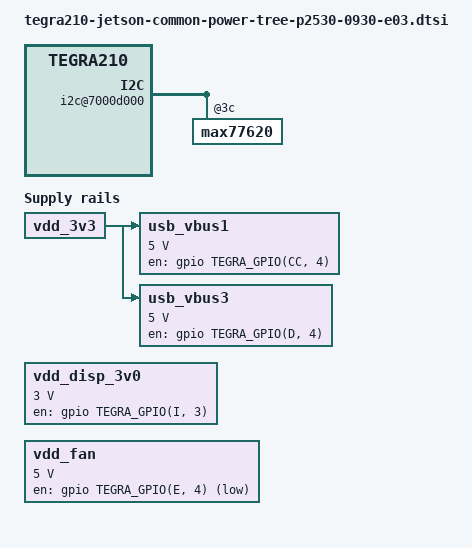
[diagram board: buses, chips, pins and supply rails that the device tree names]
/*
 * Copyright (c) 2014-2016, NVIDIA CORPORATION.  All rights reserved.
 *
 * This program is free software; you can redistribute it and/or modify
 * it under the terms of the GNU General Public License as published by
 * the Free Software Foundation; either version 2 of the License, or
 * (at your option) any later version.
 *
 * This program is distributed in the hope that it will be useful, but WITHOUT
 * ANY WARRANTY; without even the implied warranty of MERCHANTABILITY or
 * FITNESS FOR A PARTICULAR PURPOSE.  See the GNU General Public License for
 * more details.
 *
 * You should have received a copy of the GNU General Public License along
 * along with this program. If not, see <http://www.gnu.org/licenses/>.
 */

#include "tegra210-jetson-e-pmic-p2530-0930-e03.dtsi"
#include "tegra210-jetson-e-power-fixed-p2530-0930-e03.dtsi"
#include "tegra210-ers-power-dvfs-e2174-1101-a00.dtsi"

/ {
	dvfs_rails {
		vdd-cpu-rail-max77621@2 {
			/delete-property/ vdd_cpu-supply;
		};
		vdd-gpu-rail-max77621@3 {
			/delete-property/ vdd_gpu-supply;
		};
	};

	i2c@7000d000 {
		max77620@3c {
			regulators {
				sd0 {
					regulator-enable-ramp-delay = <146>;
					regulator-disable-ramp-delay = <4080>;
					regulator-ramp-delay = <27500>;
					regulator-ramp-delay-scale = <300>;
				};

				sd1 {
					regulator-enable-ramp-delay = <130>;
					regulator-disable-ramp-delay = <145800>;
					regulator-ramp-delay = <27500>;
					regulator-ramp-delay-scale = <300>;
				};

				sd2 {
					maxim,active-fps-source = <MAX77620_FPS_SRC_1>;
					maxim,suspend-fps-source = <MAX77620_FPS_SRC_NONE>;
					regulator-enable-ramp-delay = <176>;
					regulator-disable-ramp-delay = <32000>;
					regulator-ramp-delay = <27500>;
					regulator-ramp-delay-scale = <350>;
				};

				sd3 {
					regulator-enable-ramp-delay = <242>;
					regulator-disable-ramp-delay = <118000>;
					regulator-ramp-delay = <27500>;
					regulator-ramp-delay-scale = <360>;
				};

				ldo0 {
					regulator-enable-ramp-delay = <26>;
					regulator-disable-ramp-delay = <626>;
					regulator-ramp-delay = <100000>;
					regulator-ramp-delay-scale = <200>;
				};

				ldo1 {
					regulator-enable-ramp-delay = <22>;
					regulator-disable-ramp-delay = <630>;
					regulator-ramp-delay = <100000>;
					regulator-ramp-delay-scale = <200>;
				};

				ldo2 {
					regulator-enable-ramp-delay = <62>;
					regulator-disable-ramp-delay = <650>;
					regulator-ramp-delay = <100000>;
					regulator-ramp-delay-scale = <200>;
				};

				ldo3 {
					regulator-enable-ramp-delay = <50>;
					regulator-disable-ramp-delay = <1110>;
					regulator-ramp-delay = <100000>;
					regulator-ramp-delay-scale = <200>;
				};

				ldo4 {
					regulator-enable-ramp-delay = <22>;
					regulator-disable-ramp-delay = <610>;
					regulator-ramp-delay = <100000>;
					regulator-ramp-delay-scale = <200>;
				};

				ldo5 {
					regulator-enable-ramp-delay = <62>;
					regulator-disable-ramp-delay = <640>;
					regulator-ramp-delay = <100000>;
					regulator-ramp-delay-scale = <200>;
				};

				ldo6 {
					regulator-enable-ramp-delay = <36>;
					regulator-disable-ramp-delay = <674>;
					regulator-ramp-delay = <100000>;
					regulator-ramp-delay-scale = <200>;
				};

				ldo7 {
					maxim,active-fps-source = <MAX77620_FPS_SRC_1>;
					maxim,suspend-fps-source = <MAX77620_FPS_SRC_NONE>;
					regulator-enable-ramp-delay = <24>;
					regulator-disable-ramp-delay = <2768>;
					regulator-ramp-delay = <100000>;
					regulator-ramp-delay-scale = <200>;
				};

				ldo8 {
					regulator-enable-ramp-delay = <22>;
					regulator-disable-ramp-delay = <1160>;
					regulator-ramp-delay = <100000>;
					regulator-ramp-delay-scale = <200>;
				};
			};
		};
	};

	regulators {
		regulator@1 {
			regulator-enable-ramp-delay = <160>;
			regulator-disable-ramp-delay = <10000>;
		};

		regulator@2 {
			regulator-enable-ramp-delay = <240>;
			regulator-disable-ramp-delay = <11340>;
		};

		regulator@4 {
			regulator-enable-ramp-delay = <472>;
			regulator-disable-ramp-delay = <4880>;
		};

		regulator@6 {
			regulator-enable-ramp-delay = <3090>;
		};

		regulator@7 {
			regulator-enable-ramp-delay = <468>;
			regulator-disable-ramp-delay = <13000>;
		};

		vdd_disp_3v0: regulator@12 {
			compatible = "regulator-fixed-sync";
			reg = <12>;
			regulator-name = "vdd-disp-3v0";
			regulator-min-microvolt = <3000000>;
			regulator-max-microvolt = <3000000>;
			gpio = <&gpio TEGRA_GPIO(I, 3) 0>;
			regulator-boot-on;
			enable-active-high;
			regulator-enable-ramp-delay = <232>;
		};

		vdd_fan: regulator@13 {
			compatible = "regulator-fixed-sync";
			reg = <13>;
			regulator-name = "vdd-fan";
			regulator-min-microvolt = <5000000>;
			regulator-max-microvolt = <5000000>;
			gpio = <&gpio TEGRA_GPIO(E, 4) 0>;
			regulator-enable-ramp-delay = <284>;
			regulator-disable-ramp-delay = <6200>;
		};

		usb_vbus1: regulator@14 {
			compatible = "regulator-fixed-sync";
			reg = <14>;
			regulator-name = "usb-vbus1";
			regulator-min-microvolt = <5000000>;
			regulator-max-microvolt = <5000000>;
			gpio = <&gpio TEGRA_GPIO(CC, 4) 0>;
			enable-active-high;
			gpio-open-drain;
			vin-supply = <&vdd_3v3>;
		};

		usb_vbus3: regulator@15 {
			compatible = "regulator-fixed-sync";
			reg = <15>;
			regulator-name = "usb-vbus3";
			regulator-min-microvolt = <5000000>;
			regulator-max-microvolt = <5000000>;
			gpio = <&gpio TEGRA_GPIO(D, 4) 0>;
			enable-active-high;
			gpio-open-drain;
			vin-supply = <&vdd_3v3>;
		};
	};

	efuse@7000f800 {
		vpp_fuse-supply = <&max77620_sd3>;
	};

	host1x {
		/* tegradc.0 */
		dc@54200000 {
			avdd_dsi_csi-supply = <&max77620_gpio7>;
			avdd_lcd-supply = <&vdd_disp_3v0>;
			dvdd_lcd-supply = <&max77620_sd3>;
			vdd_lcd_bl_en-supply = <&lcd_bl_en>;
			vdd_lcd_bl-supply = <&vdd_3v3>;
		};

		/* tegradc.1 */
		dc@54240000 {
			avdd_hdmi-supply = <&max77620_ldo8>;    /* 1V05 */
			avdd_hdmi_pll-supply = <&max77620_sd3>; /* 1V8 */
			vdd_hdmi_5v0-supply = <&vdd_hdmi>;	/* 5V0 GPIO_PCC7 fixed reg */
		};

		vi {
			avdd_dsi_csi-supply = <&max77620_gpio7>;
		};

		i2c@546c0000 {
			bus-pullup-supply = <&battery_reg>;
		};
	};

	sound {
		ldoen-supply = <&vdd_sys_boost>;
		spkvdd-supply = <&vdd_sys_boost>;
		dbvdd-supply = <&vdd_sys_boost>;
		avdd-supply = <&vdd_sys_boost>;
		dmicvdd-supply = <&max77620_sd3>;
	};

	udc@7d000000 {
		avdd_usb-supply = <&vdd_3v3>;
		avdd_pll_utmip-supply = <&max77620_sd3>;
	};

	usb_cd@7009f000 {
	};

	ehci@7d000000 {
		avdd_usb-supply = <&vdd_3v3>;
		avdd_pll_utmip-supply = <&max77620_sd3>;
	};

	xusb@70090000 {
		usb_vbus0-supply = <&battery_reg>;
		usb_vbus1-supply = <&usb_vbus3>;
		usb_vbus2-supply = <&usb_vbus1>;
		usb_vbus3-supply = <&vdd_3v3>;
		hvdd_usb-supply = <&vdd_3v3>;
		avdd_pll_utmip-supply = <&max77620_sd3>;
		vddio_hsic-supply = <&max77620_ldo0>;
		avddio_usb-supply = <&max77620_ldo1>;
		dvdd_sata-supply = <&max77620_ldo8>;
		avddio_pll_uerefe-supply = <&max77620_ldo7>;
	};

	xudc@700d0000 {
                hvdd_usb-supply = <&vdd_3v3>;
                avdd_pll_utmip-supply = <&max77620_sd3>;
                avddio_usb-supply = <&max77620_ldo1>;
                avddio_pll_uerefe-supply = <&max77620_ldo7>;
        };

	xotg {
		usb_vbus-supply = <&battery_reg>;
	};

	xusb_padctl {
		avdd_pll_uerefe-supply = <&max77620_ldo7>;
		hvdd_pex_pll_e-supply = <&max77620_sd3>;
		dvdd_pex_pll-supply = <&max77620_ldo1>;
		hvddio_pex-supply = <&max77620_sd3>;
		dvddio_pex-supply = <&max77620_ldo1>;
		hvdd_sata-supply = <&max77620_sd3>;
		dvdd_sata_pll-supply = <&max77620_ldo8>;
		hvddio_sata-supply = <&max77620_sd3>;
		dvddio_sata-supply = <&max77620_ldo8>;
	};

	otg@7d000000 {
		usb_vbus-supply = <&battery_reg>;
	};

	sdhci@700b0600 {
		vddio_sdmmc-supply = <&max77620_sd3>;
		vddio_sd_slot-supply = <&vdd_3v3>;
	};

	sdhci@700b0400 {
		vddio_sdmmc-supply = <&max77620_sd3>;
		vddio_sd_slot-supply = <&vdd_3v3>;
	};

	sdhci@700b0200 {
		vddio_sdmmc-supply = <&max77620_sd3>;
		vddio_sd_slot-supply = <&vdd_3v3>;
	};

	sdhci@700b0000 {
		vddio_sdmmc-supply = <&max77620_ldo2>;
		vddio_sd_slot-supply = <&en_vdd_sd>;
	};

	sata@70020000 {
		hvdd_sata-supply = <&max77620_sd3>;
		hvdd_pex_pll_e-supply = <&max77620_sd3>;
		l0_hvddio_sata-supply = <&max77620_sd3>;
		l0_dvddio_sata-supply = <&max77620_ldo8>;
		dvdd_sata_pll-supply = <&max77620_ldo8>;
	};

	bluedroid_pm {
		avdd-supply = <&battery_reg>;
		dvdd-supply = <&max77620_sd3>;
	};

	pwm-fan {
		vdd-fan-supply = <&vdd_fan>;
	};

	pmc@7000e400 {
		bootrom-commands {
			reset-commands {
				nvidia,command-retries-count = <2>;
				nvidia,delay-between-commands-us = <10>;
				nvidia,wait-before-start-bus-clear-us = <10>;
				#address-cells = <1>;
				#size-cells = <0>;
				commands@4-003c {
					nvidia,command-names = "pmic-rails";
					reg = <0x3c>;
					nvidia,enable-8bit-register;
					nvidia,enable-8bit-data;
					nvidia,controller-type-i2c;
					nvidia,controller-id = <4>;
					nvidia,enable-controller-reset;
					nvidia,write-commands = <0x00000016 0x00000020>;
				};
			};
			power-off-commands {
				nvidia,command-retries-count = <2>;
				nvidia,delay-between-commands-us = <10>;
				nvidia,wait-before-start-bus-clear-us = <10>;
				#address-cells = <1>;
				#size-cells = <0>;
				commands@4-003c {
					nvidia,command-names = "pmic-rails";
					reg = <0x3c>;
					nvidia,enable-8bit-register;
					nvidia,enable-8bit-data;
					nvidia,controller-type-i2c;
					nvidia,controller-id = <4>;
					nvidia,enable-controller-reset;
					nvidia,write-commands = <0x3B 0x01
								0x42 0x5B
								0x41 0xF8>;
				};
			};
		};
	};
};
